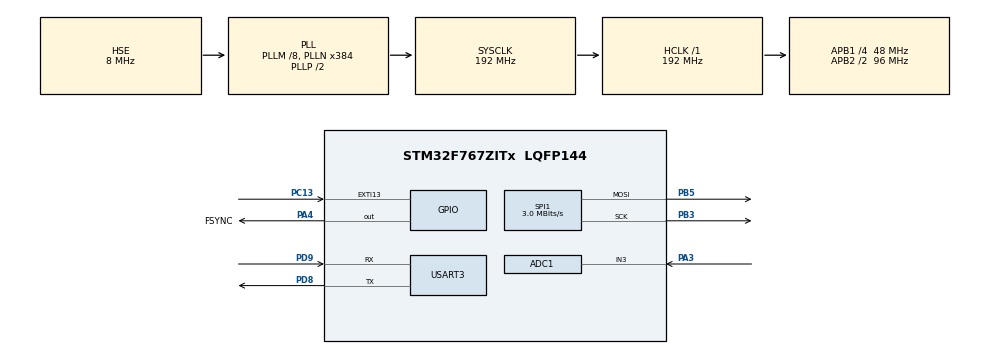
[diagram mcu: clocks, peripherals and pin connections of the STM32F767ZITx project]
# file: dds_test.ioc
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ADC1.Channel-1\#ChannelRegularConversion=ADC_CHANNEL_3
ADC1.DMAContinuousRequests=ENABLE
ADC1.ExternalTrigConv=ADC_EXTERNALTRIGCONV_T6_TRGO
ADC1.NbrOfConversion=1
ADC1.NbrOfConversionFlag=1
ADC1.Rank-1\#ChannelRegularConversion=1
ADC1.SamplingTime-1\#ChannelRegularConversion=ADC_SAMPLETIME_3CYCLES
ADC1.master=1
CORTEX_M7.default_mode_Activation=1
Dma.ADC1.0.Direction=DMA_PERIPH_TO_MEMORY
Dma.ADC1.0.FIFOMode=DMA_FIFOMODE_DISABLE
Dma.ADC1.0.Instance=DMA2_Stream0
Dma.ADC1.0.MemDataAlignment=DMA_MDATAALIGN_HALFWORD
Dma.ADC1.0.MemInc=DMA_MINC_ENABLE
Dma.ADC1.0.Mode=DMA_NORMAL
Dma.ADC1.0.PeriphDataAlignment=DMA_PDATAALIGN_HALFWORD
Dma.ADC1.0.PeriphInc=DMA_PINC_DISABLE
Dma.ADC1.0.Priority=DMA_PRIORITY_LOW
Dma.Request0=ADC1
Mcu.Family=STM32F7
Mcu.Name=STM32F767ZITx
Mcu.Package=LQFP144
NVIC.DMA2_Stream0_IRQn=true\:0\:0\:false\:false\:true\:false\:true\:true
NVIC.EXTI15_10_IRQn=true\:0\:0\:false\:false\:true\:true\:true\:true
NVIC.PriorityGroup=NVIC_PRIORITYGROUP_4
PA3.Signal=ADCx_IN3
PA4.GPIO_Label=FSYNC
PA4.PinState=GPIO_PIN_SET
PA4.Signal=GPIO_Output
PB3.Mode=TX_Only_Simplex_Unidirect_Master
PB3.Signal=SPI1_SCK
PB5.Mode=TX_Only_Simplex_Unidirect_Master
PB5.Signal=SPI1_MOSI
PC13.Signal=GPXTI13
PD8.Mode=Asynchronous
PD8.Signal=USART3_TX
PD9.Mode=Asynchronous
PD9.Signal=USART3_RX
PH0/OSC_IN.Mode=HSE-External-Clock-Source
PH0/OSC_IN.Signal=RCC_OSC_IN
PH1/OSC_OUT.Mode=HSE-External-Clock-Source
PH1/OSC_OUT.Signal=RCC_OSC_OUT
ProjectManager.HeapSize=0x200
ProjectManager.StackSize=0x400
ProjectManager.TargetToolchain=STM32CubeIDE
RCC.AHBFreq_Value=192000000
RCC.APB1CLKDivider=RCC_HCLK_DIV4
RCC.APB1Freq_Value=48000000
RCC.APB1TimFreq_Value=96000000
RCC.APB2CLKDivider=RCC_HCLK_DIV2
RCC.APB2Freq_Value=96000000
RCC.APB2TimFreq_Value=192000000
RCC.CortexFreq_Value=192000000
RCC.HCLKFreq_Value=192000000
RCC.HSE_VALUE=8000000
RCC.HSI_VALUE=16000000
RCC.LSE_VALUE=32768
RCC.PLLM=8
RCC.PLLN=384
RCC.PLLSourceVirtual=RCC_PLLSOURCE_HSE
RCC.SYSCLKFreq_VALUE=192000000
RCC.SYSCLKSource=RCC_SYSCLKSOURCE_PLLCLK
RCC.USBFreq_Value=192000000
RCC.VCOOutputFreq_Value=384000000
SH.ADCx_IN3.0=ADC1_IN3,IN3
SPI1.BaudRatePrescaler=SPI_BAUDRATEPRESCALER_32
SPI1.CLKPolarity=SPI_POLARITY_HIGH
SPI1.CalculateBaudRate=3.0 MBits/s
SPI1.DataSize=SPI_DATASIZE_16BIT
SPI1.Direction=SPI_DIRECTION_2LINES
SPI1.Mode=SPI_MODE_MASTER
SPI1.NSSPMode=SPI_NSS_PULSE_DISABLE
SPI1.VirtualType=VM_MASTER
TIM6.Period=95
TIM6.TIM_MasterOutputTrigger=TIM_TRGO_UPDATE
USART3.VirtualMode-Asynchronous=VM_ASYNC
VP_TIM6_VS_ClockSourceINT.Mode=Enable_Timer
board=custom

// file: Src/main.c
/* USER CODE BEGIN Header */
/**
  ******************************************************************************
  * @file           : main.c
  * @brief          : Main program body
  ******************************************************************************
  * @attention
  *
  * Copyright (c) 2025 STMicroelectronics.
  * All rights reserved.
  *
  * This software is licensed under terms that can be found in the LICENSE file
  * in the root directory of this software component.
  * If no LICENSE file comes with this software, it is provided AS-IS.
  *
  ******************************************************************************
  */
/* USER CODE END Header */
#include "main.h"

/* USER CODE BEGIN PD */
#define NUM_SAMPLES    1024
/* USER CODE END PD */

ADC_HandleTypeDef hadc1;
DMA_HandleTypeDef hdma_adc1;

SPI_HandleTypeDef hspi1;

TIM_HandleTypeDef htim6;

UART_HandleTypeDef huart3;

/* USER CODE BEGIN PV */
uint16_t adc_buffer[NUM_SAMPLES];
uint8_t trigger = 0;
uint8_t adc_running = 0;
/* USER CODE END PV */

void SystemClock_Config(void);
static void MPU_Config(void);
static void MX_GPIO_Init(void);
static void MX_DMA_Init(void);
static void MX_TIM6_Init(void);
static void MX_SPI1_Init(void);
static void MX_USART3_UART_Init(void);
static void MX_ADC1_Init(void);
/* USER CODE BEGIN PFP */
static void AD9833_SetFrequency(uint32_t freq_hz);
/* USER CODE END PFP */

int main(void)
{

  /* MPU Configuration--------------------------------------------------------*/
  MPU_Config();

  /* MCU Configuration--------------------------------------------------------*/

  /* Reset of all peripherals, Initializes the Flash interface and the Systick. */
  HAL_Init();

  /* Configure the system clock */
  SystemClock_Config();

  /* Initialize all configured peripherals */
  MX_GPIO_Init();
  MX_DMA_Init();
  MX_TIM6_Init();
  MX_SPI1_Init();
  MX_USART3_UART_Init();
  MX_ADC1_Init();
  /* USER CODE BEGIN 2 */
 AD9833_SetFrequency(250000);
 HAL_ADC_Start_DMA(&hadc1, (uint32_t *)adc_buffer, NUM_SAMPLES);
 HAL_TIM_Base_Start(&htim6);
  /* USER CODE END 2 */

  /* Infinite loop */
  while (1)
  {

    /* USER CODE BEGIN 3 */
	  if (!adc_running){
		  if (trigger){
			  HAL_TIM_Base_Start(&htim6);
		  }
	  }
  }
  /* USER CODE END 3 */
}

void SystemClock_Config(void)
{
  RCC_OscInitTypeDef RCC_OscInitStruct = {0};
  RCC_ClkInitTypeDef RCC_ClkInitStruct = {0};

  /** Configure the main internal regulator output voltage
  */
  __HAL_RCC_PWR_CLK_ENABLE();
  __HAL_PWR_VOLTAGESCALING_CONFIG(PWR_REGULATOR_VOLTAGE_SCALE1);

  /** Initializes the RCC Oscillators according to the specified parameters
  * in the RCC_OscInitTypeDef structure.
  */
  RCC_OscInitStruct.OscillatorType = RCC_OSCILLATORTYPE_HSE;
  RCC_OscInitStruct.HSEState = RCC_HSE_BYPASS;
  RCC_OscInitStruct.PLL.PLLState = RCC_PLL_ON;
  RCC_OscInitStruct.PLL.PLLSource = RCC_PLLSOURCE_HSE;
  RCC_OscInitStruct.PLL.PLLM = 8;
  RCC_OscInitStruct.PLL.PLLN = 384;
  RCC_OscInitStruct.PLL.PLLP = RCC_PLLP_DIV2;
  RCC_OscInitStruct.PLL.PLLQ = 2;
  RCC_OscInitStruct.PLL.PLLR = 2;
  if (HAL_RCC_OscConfig(&RCC_OscInitStruct) != HAL_OK)
  {
    Error_Handler();
  }

  /** Activate the Over-Drive mode
  */
  if (HAL_PWREx_EnableOverDrive() != HAL_OK)
  {
    Error_Handler();
  }

  /** Initializes the CPU, AHB and APB buses clocks
  */
  RCC_ClkInitStruct.ClockType = RCC_CLOCKTYPE_HCLK|RCC_CLOCKTYPE_SYSCLK
                              |RCC_CLOCKTYPE_PCLK1|RCC_CLOCKTYPE_PCLK2;
  RCC_ClkInitStruct.SYSCLKSource = RCC_SYSCLKSOURCE_PLLCLK;
  RCC_ClkInitStruct.AHBCLKDivider = RCC_SYSCLK_DIV1;
  RCC_ClkInitStruct.APB1CLKDivider = RCC_HCLK_DIV4;
  RCC_ClkInitStruct.APB2CLKDivider = RCC_HCLK_DIV2;

  if (HAL_RCC_ClockConfig(&RCC_ClkInitStruct, FLASH_LATENCY_6) != HAL_OK)
  {
    Error_Handler();
  }
}

static void MX_ADC1_Init(void)
{

  ADC_ChannelConfTypeDef sConfig = {0};

  /** Configure the global features of the ADC (Clock, Resolution, Data Alignment and number of conversion)
  */
  hadc1.Instance = ADC1;
  hadc1.Init.ClockPrescaler = ADC_CLOCK_SYNC_PCLK_DIV4;
  hadc1.Init.Resolution = ADC_RESOLUTION_12B;
  hadc1.Init.ScanConvMode = ADC_SCAN_DISABLE;
  hadc1.Init.ContinuousConvMode = DISABLE;
  hadc1.Init.DiscontinuousConvMode = DISABLE;
  hadc1.Init.ExternalTrigConvEdge = ADC_EXTERNALTRIGCONVEDGE_RISING;
  hadc1.Init.ExternalTrigConv = ADC_EXTERNALTRIGCONV_T6_TRGO;
  hadc1.Init.DataAlign = ADC_DATAALIGN_RIGHT;
  hadc1.Init.NbrOfConversion = 1;
  hadc1.Init.DMAContinuousRequests = ENABLE;
  hadc1.Init.EOCSelection = ADC_EOC_SINGLE_CONV;
  if (HAL_ADC_Init(&hadc1) != HAL_OK)
  {
    Error_Handler();
  }

  /** Configure for the selected ADC regular channel its corresponding rank in the sequencer and its sample time.
  */
  sConfig.Channel = ADC_CHANNEL_3;
  sConfig.Rank = ADC_REGULAR_RANK_1;
  sConfig.SamplingTime = ADC_SAMPLETIME_3CYCLES;
  if (HAL_ADC_ConfigChannel(&hadc1, &sConfig) != HAL_OK)
  {
    Error_Handler();
  }

}

static void MX_SPI1_Init(void)
{

  /* SPI1 parameter configuration*/
  hspi1.Instance = SPI1;
  hspi1.Init.Mode = SPI_MODE_MASTER;
  hspi1.Init.Direction = SPI_DIRECTION_2LINES;
  hspi1.Init.DataSize = SPI_DATASIZE_16BIT;
  hspi1.Init.CLKPolarity = SPI_POLARITY_HIGH;
  hspi1.Init.CLKPhase = SPI_PHASE_1EDGE;
  hspi1.Init.NSS = SPI_NSS_SOFT;
  hspi1.Init.BaudRatePrescaler = SPI_BAUDRATEPRESCALER_32;
  hspi1.Init.FirstBit = SPI_FIRSTBIT_MSB;
  hspi1.Init.TIMode = SPI_TIMODE_DISABLE;
  hspi1.Init.CRCCalculation = SPI_CRCCALCULATION_DISABLE;
  hspi1.Init.CRCPolynomial = 7;
  hspi1.Init.CRCLength = SPI_CRC_LENGTH_DATASIZE;
  hspi1.Init.NSSPMode = SPI_NSS_PULSE_DISABLE;
  if (HAL_SPI_Init(&hspi1) != HAL_OK)
  {
    Error_Handler();
  }

}

static void MX_TIM6_Init(void)
{

  TIM_MasterConfigTypeDef sMasterConfig = {0};

  htim6.Instance = TIM6;
  htim6.Init.Prescaler = 0;
  htim6.Init.CounterMode = TIM_COUNTERMODE_UP;
  htim6.Init.Period = 95;
  htim6.Init.AutoReloadPreload = TIM_AUTORELOAD_PRELOAD_DISABLE;
  if (HAL_TIM_Base_Init(&htim6) != HAL_OK)
  {
    Error_Handler();
  }
  sMasterConfig.MasterOutputTrigger = TIM_TRGO_UPDATE;
  sMasterConfig.MasterSlaveMode = TIM_MASTERSLAVEMODE_DISABLE;
  if (HAL_TIMEx_MasterConfigSynchronization(&htim6, &sMasterConfig) != HAL_OK)
  {
    Error_Handler();
  }

}

static void MX_USART3_UART_Init(void)
{

  huart3.Instance = USART3;
  huart3.Init.BaudRate = 115200;
  huart3.Init.WordLength = UART_WORDLENGTH_8B;
  huart3.Init.StopBits = UART_STOPBITS_1;
  huart3.Init.Parity = UART_PARITY_NONE;
  huart3.Init.Mode = UART_MODE_TX_RX;
  huart3.Init.HwFlowCtl = UART_HWCONTROL_NONE;
  huart3.Init.OverSampling = UART_OVERSAMPLING_16;
  huart3.Init.OneBitSampling = UART_ONE_BIT_SAMPLE_DISABLE;
  huart3.AdvancedInit.AdvFeatureInit = UART_ADVFEATURE_NO_INIT;
  if (HAL_UART_Init(&huart3) != HAL_OK)
  {
    Error_Handler();
  }

}

static void MX_DMA_Init(void)
{

  /* DMA controller clock enable */
  __HAL_RCC_DMA2_CLK_ENABLE();

  /* DMA interrupt init */
  /* DMA2_Stream0_IRQn interrupt configuration */
  HAL_NVIC_SetPriority(DMA2_Stream0_IRQn, 0, 0);
  HAL_NVIC_EnableIRQ(DMA2_Stream0_IRQn);

}

static void MX_GPIO_Init(void)
{
  GPIO_InitTypeDef GPIO_InitStruct = {0};

  /* GPIO Ports Clock Enable */
  __HAL_RCC_GPIOC_CLK_ENABLE();
  __HAL_RCC_GPIOH_CLK_ENABLE();
  __HAL_RCC_GPIOA_CLK_ENABLE();
  __HAL_RCC_GPIOD_CLK_ENABLE();
  __HAL_RCC_GPIOB_CLK_ENABLE();

  /*Configure GPIO pin Output Level */
  HAL_GPIO_WritePin(FSYNC_GPIO_Port, FSYNC_Pin, GPIO_PIN_SET);

  /*Configure GPIO pin : PC13 */
  GPIO_InitStruct.Pin = GPIO_PIN_13;
  GPIO_InitStruct.Mode = GPIO_MODE_IT_RISING;
  GPIO_InitStruct.Pull = GPIO_NOPULL;
  HAL_GPIO_Init(GPIOC, &GPIO_InitStruct);

  /*Configure GPIO pin : FSYNC_Pin */
  GPIO_InitStruct.Pin = FSYNC_Pin;
  GPIO_InitStruct.Mode = GPIO_MODE_OUTPUT_PP;
  GPIO_InitStruct.Pull = GPIO_NOPULL;
  GPIO_InitStruct.Speed = GPIO_SPEED_FREQ_LOW;
  HAL_GPIO_Init(FSYNC_GPIO_Port, &GPIO_InitStruct);

  /* EXTI interrupt init*/
  HAL_NVIC_SetPriority(EXTI15_10_IRQn, 0, 0);
  HAL_NVIC_EnableIRQ(EXTI15_10_IRQn);

}

/* USER CODE BEGIN 4 */
static void AD9833_SetFrequency(uint32_t freq_hz)
{
    uint16_t data;
    uint32_t freq_word;

    // 28-bit frequency word calculation
    freq_word = (uint32_t)((freq_hz * (1ULL << 28)) / 25000000UL); // MCLK = 25 MHz

    // FSYNC Low to start
    HAL_GPIO_WritePin(FSYNC_GPIO_Port, FSYNC_Pin, GPIO_PIN_RESET);

    /**
     * DB13 is set to 1.
     * This allows a complete word to be loaded into a
     * frequency register in two consecutive writes.
	 * The first write contains 14 LSBs.
	 * The second write contains 14 MSBs.
     * RESET bit DB8 is set to 1.
     * This resets internal registers to 0,
     * which corresponds to an analog output of midscale.
     ***/
    data = 0x2100;
    HAL_SPI_Transmit(&hspi1, (uint8_t *)&data, 1, HAL_MAX_DELAY);

    /** Frequency word
     * DB15 and DB14 are set to 0 and 1, respectively,
     * which is the Frequency Register 0 address.
     **/
    // 2. Write lower 14 bits of frequency word
    data = 0x4000 | (freq_word & 0x3FFF);
    HAL_SPI_Transmit(&hspi1, (uint8_t *)&data, 1, HAL_MAX_DELAY);

    // 3. Write upper 14 bits of frequency word
    data = 0x4000 | ((freq_word >> 14) & 0x3FFF);
    HAL_SPI_Transmit(&hspi1, (uint8_t *)&data, 1, HAL_MAX_DELAY);

    // 4. Phase information
    /** DB15, DB14, and DB13 are set to 110, with DB12 set to don’t care (X),
     * respectively, which is the address for Phase Register 0.
     * The remaining 12 bits are the data bits and are all 0s in this case.
     * */
    data = 0xC000;
    HAL_SPI_Transmit(&hspi1, (uint8_t *)&data, 1, HAL_MAX_DELAY);

    // 5. Control register: Clear RESET to enable output
    data = 0x2000;  // RESET = 0, Mode = Sine
    HAL_SPI_Transmit(&hspi1, (uint8_t *)&data, 1, HAL_MAX_DELAY);

    // FSYNC High to end
    HAL_GPIO_WritePin(FSYNC_GPIO_Port, FSYNC_Pin, GPIO_PIN_SET);
}
void HAL_GPIO_EXTI_Callback(uint16_t GPIO_Pin){
	trigger = 1;
}
void HAL_ADC_ConvCpltCallback(ADC_HandleTypeDef* hadc){
	HAL_UART_Transmit(&huart3, (uint8_t*)adc_buffer, NUM_SAMPLES*2, HAL_MAX_DELAY);
}
/* USER CODE END 4 */

 /* MPU Configuration */

void MPU_Config(void)
{
  MPU_Region_InitTypeDef MPU_InitStruct = {0};

  /* Disables the MPU */
  HAL_MPU_Disable();

  /** Initializes and configures the Region and the memory to be protected
  */
  MPU_InitStruct.Enable = MPU_REGION_ENABLE;
  MPU_InitStruct.Number = MPU_REGION_NUMBER0;
  MPU_InitStruct.BaseAddress = 0x0;
  MPU_InitStruct.Size = MPU_REGION_SIZE_4GB;
  MPU_InitStruct.SubRegionDisable = 0x87;
  MPU_InitStruct.TypeExtField = MPU_TEX_LEVEL0;
  MPU_InitStruct.AccessPermission = MPU_REGION_NO_ACCESS;
  MPU_InitStruct.DisableExec = MPU_INSTRUCTION_ACCESS_DISABLE;
  MPU_InitStruct.IsShareable = MPU_ACCESS_SHAREABLE;
  MPU_InitStruct.IsCacheable = MPU_ACCESS_NOT_CACHEABLE;
  MPU_InitStruct.IsBufferable = MPU_ACCESS_NOT_BUFFERABLE;

  HAL_MPU_ConfigRegion(&MPU_InitStruct);
  /* Enables the MPU */
  HAL_MPU_Enable(MPU_PRIVILEGED_DEFAULT);

}

void Error_Handler(void)
{
  __disable_irq();
  while (1)
  {
  }
}
